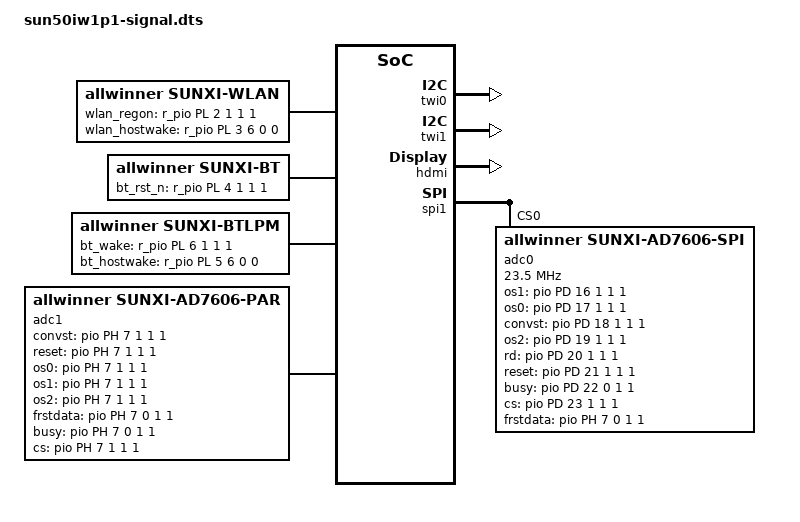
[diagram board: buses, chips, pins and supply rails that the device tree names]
/*
 * Allwinner Technology CO., Ltd. sun50iw1p1 fpga board.
 *
 * fpga board support.
 */

/dts-v1/;

#include "sun50iw1p1.dtsi"

/{

	soc@01c00000 {

		twi0: twi@0x01c2ac00{
			status = "okay";
		};

		twi1: twi@0x01c2b000{
			status = "okay";
		};
		s_cir0: s_cir@1f02000 {
			status = "disable";
		};
		hdmi: hdmi@01ee0000 {
			status = "okay";
		};

		spi1: spi@01c69000 {
			status = "okay";

			adc0@0 {
				#address-cells = <1>;
				#size-cells = <1>;
				compatible = "allwinner,sunxi-ad7606-spi";
				spi-max-frequency = <23500000>;
				spi-cpol;
                		spi-cpha;
				reg = <0>;	/* Chip select 1 */
				channels 		= <8>;
				bits			= <16>;
				gpio-os1 		= <&pio PD 16 1 1 1 1>;
				gpio-os0 		= <&pio PD 17 1 1 1 1>;
				gpio-convst 	= <&pio PD 18 1 1 1 1>;
				gpio-os2 		= <&pio PD 19 1 1 1 1>;
				gpio-rd 		= <&pio PD 20 1 1 1 1>;
				gpio-reset 		= <&pio PD 21 1 1 1 1>;
				gpio-busy 		= <&pio PD 22 0 1 1 1>;
				gpio-cs 		= <&pio PD 23 1 1 1 1>;
				gpio-frstdata   = <&pio PH 7 0 1 1 1>;
				status = "okay";
			};
		};
		
	};

	passthrough {

	};

	gpu_mali400_0: gpu@0x01c40000 {
		compatible = "arm,mali-400", "arm,mali-utgard";
		reg = <0x0 0x01c40000 0x0 0x10000>;
		interrupts = <GIC_SPI 97 4>, <GIC_SPI 98 4>, <GIC_SPI 99 4>, <GIC_SPI 100 4>, <GIC_SPI 102 4>, <GIC_SPI 103 4>;
		interrupt-names = "IRQGP", "IRQGPMMU", "IRQPP0", "IRQPPMMU0", "IRQPP1", "IRQPPMMU1";
		clocks = <&clk_pll_gpu>, <&clk_gpu>;
	};

	wlan:wlan {
		compatible = "allwinner,sunxi-wlan";
		/*wlan_power = "vcc-wifi";*/
		wlan_io_regulator = "vcc-wifi-io";
		wlan_busnum = <1>;
		wlan_regon = <&r_pio PL 2 1 1 1 0>;
		wlan_hostwake = <&r_pio PL 3 6 0 0 0>;
		status = "okay";
	};

	bt:bt {
		compatible = "allwinner,sunxi-bt";
		/*bt_power = "vcc-wifi";*/
		bt_io_regulator = "vcc-wifi-io";
		bt_rst_n = <&r_pio PL 4 1 1 1 0>;
		status = "okay";
		};

	btlpm:btlpm {
		compatible = "allwinner,sunxi-btlpm";
		uart_index = <1>;
		bt_wake = <&r_pio PL 6 1 1 1 1>;
		bt_hostwake = <&r_pio PL 5 6 0 0 0>;
		status = "okay";
	};

	adc1: adc {
		compatible = "allwinner,sunxi-ad7606-par","sunxi,sunxi-ad7606-par";
	    device_type   = "adc1";
		channels   	  = <8>;
		bits       	  = <16>;
		gpio-convst   = <&pio PH 7 1 1 1 1>;
		gpio-reset 	  = <&pio PH 7 1 1 1 1>;
		gpio-os0 	  = <&pio PH 7 1 1 1 1>;
		gpio-os1 	  = <&pio PH 7 1 1 1 1>;
		gpio-os2 	  = <&pio PH 7 1 1 1 1>;
		gpio-frstdata = <&pio PH 7 0 1 1 1>;
		gpio-busy 	  = <&pio PH 7 0 1 1 1>;
		gpio-cs 	  = <&pio PH 7 1 1 1 1>;
		gpio-rd 	  = <&pio PH 7 1 1 1 1>;
		stub-db0	  = <&pio PD 0 0 1 1 1>;
		status        = "okay";
	};

};
